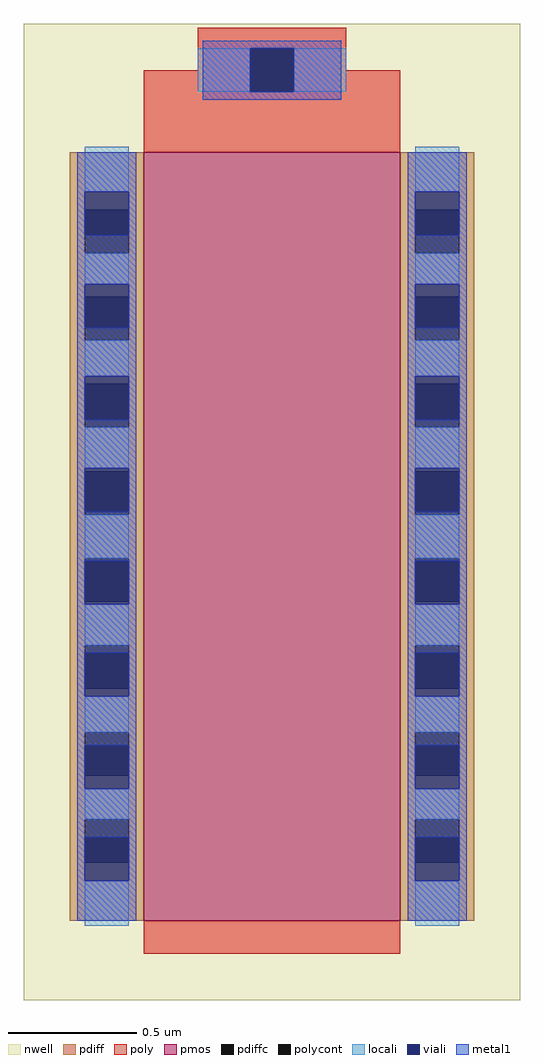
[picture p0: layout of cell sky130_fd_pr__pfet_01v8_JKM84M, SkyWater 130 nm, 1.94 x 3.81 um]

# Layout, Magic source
magic
tech sky130A
magscale 1 2
<< nwell >>
rect -194 -398 194 364
<< pmos >>
rect -100 -336 100 264
<< pdiff >>
rect -158 219 -100 264
rect -158 185 -146 219
rect -112 185 -100 219
rect -158 151 -100 185
rect -158 117 -146 151
rect -112 117 -100 151
rect -158 83 -100 117
rect -158 49 -146 83
rect -112 49 -100 83
rect -158 15 -100 49
rect -158 -19 -146 15
rect -112 -19 -100 15
rect -158 -53 -100 -19
rect -158 -87 -146 -53
rect -112 -87 -100 -53
rect -158 -121 -100 -87
rect -158 -155 -146 -121
rect -112 -155 -100 -121
rect -158 -189 -100 -155
rect -158 -223 -146 -189
rect -112 -223 -100 -189
rect -158 -257 -100 -223
rect -158 -291 -146 -257
rect -112 -291 -100 -257
rect -158 -336 -100 -291
rect 100 219 158 264
rect 100 185 112 219
rect 146 185 158 219
rect 100 151 158 185
rect 100 117 112 151
rect 146 117 158 151
rect 100 83 158 117
rect 100 49 112 83
rect 146 49 158 83
rect 100 15 158 49
rect 100 -19 112 15
rect 146 -19 158 15
rect 100 -53 158 -19
rect 100 -87 112 -53
rect 146 -87 158 -53
rect 100 -121 158 -87
rect 100 -155 112 -121
rect 146 -155 158 -121
rect 100 -189 158 -155
rect 100 -223 112 -189
rect 146 -223 158 -189
rect 100 -257 158 -223
rect 100 -291 112 -257
rect 146 -291 158 -257
rect 100 -336 158 -291
<< pdiffc >>
rect -146 185 -112 219
rect -146 117 -112 151
rect -146 49 -112 83
rect -146 -19 -112 15
rect -146 -87 -112 -53
rect -146 -155 -112 -121
rect -146 -223 -112 -189
rect -146 -291 -112 -257
rect 112 185 146 219
rect 112 117 146 151
rect 112 49 146 83
rect 112 -19 146 15
rect 112 -87 146 -53
rect 112 -155 146 -121
rect 112 -223 146 -189
rect 112 -291 146 -257
<< poly >>
rect -58 345 58 361
rect -58 328 -17 345
rect -100 311 -17 328
rect 17 328 58 345
rect 17 311 100 328
rect -100 264 100 311
rect -100 -362 100 -336
<< polycont >>
rect -17 311 17 345
<< locali >>
rect -58 311 -17 345
rect 17 311 58 345
rect -146 233 -112 268
rect -146 161 -112 185
rect -146 89 -112 117
rect -146 17 -112 49
rect -146 -53 -112 -19
rect -146 -121 -112 -89
rect -146 -189 -112 -161
rect -146 -257 -112 -233
rect -146 -340 -112 -305
rect 112 233 146 268
rect 112 161 146 185
rect 112 89 146 117
rect 112 17 146 49
rect 112 -53 146 -19
rect 112 -121 146 -89
rect 112 -189 146 -161
rect 112 -257 146 -233
rect 112 -340 146 -305
<< viali >>
rect -17 311 17 345
rect -146 219 -112 233
rect -146 199 -112 219
rect -146 151 -112 161
rect -146 127 -112 151
rect -146 83 -112 89
rect -146 55 -112 83
rect -146 15 -112 17
rect -146 -17 -112 15
rect -146 -87 -112 -55
rect -146 -89 -112 -87
rect -146 -155 -112 -127
rect -146 -161 -112 -155
rect -146 -223 -112 -199
rect -146 -233 -112 -223
rect -146 -291 -112 -271
rect -146 -305 -112 -291
rect 112 219 146 233
rect 112 199 146 219
rect 112 151 146 161
rect 112 127 146 151
rect 112 83 146 89
rect 112 55 146 83
rect 112 15 146 17
rect 112 -17 146 15
rect 112 -87 146 -55
rect 112 -89 146 -87
rect 112 -155 146 -127
rect 112 -161 146 -155
rect 112 -223 146 -199
rect 112 -233 146 -223
rect 112 -291 146 -271
rect 112 -305 146 -291
<< metal1 >>
rect -54 345 54 351
rect -54 311 -17 345
rect 17 311 54 345
rect -54 305 54 311
rect -152 233 -106 264
rect -152 199 -146 233
rect -112 199 -106 233
rect -152 161 -106 199
rect -152 127 -146 161
rect -112 127 -106 161
rect -152 89 -106 127
rect -152 55 -146 89
rect -112 55 -106 89
rect -152 17 -106 55
rect -152 -17 -146 17
rect -112 -17 -106 17
rect -152 -55 -106 -17
rect -152 -89 -146 -55
rect -112 -89 -106 -55
rect -152 -127 -106 -89
rect -152 -161 -146 -127
rect -112 -161 -106 -127
rect -152 -199 -106 -161
rect -152 -233 -146 -199
rect -112 -233 -106 -199
rect -152 -271 -106 -233
rect -152 -305 -146 -271
rect -112 -305 -106 -271
rect -152 -336 -106 -305
rect 106 233 152 264
rect 106 199 112 233
rect 146 199 152 233
rect 106 161 152 199
rect 106 127 112 161
rect 146 127 152 161
rect 106 89 152 127
rect 106 55 112 89
rect 146 55 152 89
rect 106 17 152 55
rect 106 -17 112 17
rect 146 -17 152 17
rect 106 -55 152 -17
rect 106 -89 112 -55
rect 146 -89 152 -55
rect 106 -127 152 -89
rect 106 -161 112 -127
rect 146 -161 152 -127
rect 106 -199 152 -161
rect 106 -233 112 -199
rect 146 -233 152 -199
rect 106 -271 152 -233
rect 106 -305 112 -271
rect 146 -305 152 -271
rect 106 -336 152 -305
<< end >>
